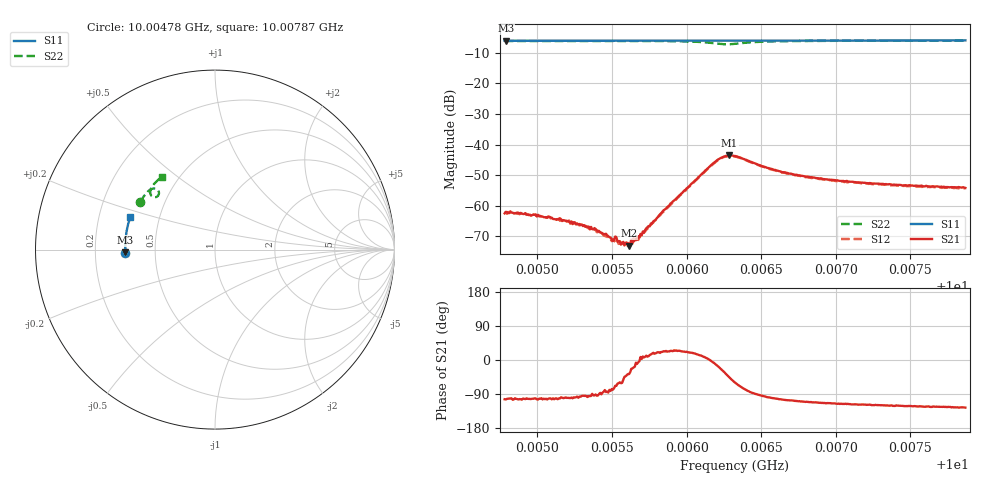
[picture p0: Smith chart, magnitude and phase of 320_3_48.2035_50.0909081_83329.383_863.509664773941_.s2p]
#  HZ  S  RI  R  50.00
! Rohde & Schwarz Vector Network Analyzer
! Rohde-Schwarz,ZNB20-2Port,1311601062101988,3.16
! Created: UTC 3/20/2024, 11:50:22 AM
! freq[Hz]  re:S11  im:S11  re:S21  im:S21  re:S12  im:S12  re:S22  im:S22
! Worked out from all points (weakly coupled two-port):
!   401 points, 10.00478 GHz to 10.00787 GHz, reference 50 ohm
!   highest |S21| = -43.58 dB at 10.00629 GHz (marker M1); lowest = -73.1 dB at 10.00561 GHz (marker M2)
!   lowest |S11| = -6.0 dB at 10.00479 GHz (marker M3), VSWR 2.99, Z = 16.7 - j0.709 ohm
!   |S11| at or under -10 dB: nowhere
!   |S22| runs from -7.2 to -6.0 dB; largest |S21 - S12| = 0.00039
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1.000478e10  -0.499 -0.0164  -0.000174 -0.000725  -0.000145 -0.000788  -0.4168 0.2649
1.0004788e10  -0.4989 -0.0159  -0.00019 -0.000762  -0.00015 -0.000756  -0.4165 0.2654
1.0004988e10  -0.4995 -0.00295  -0.000143 -0.000704  -0.000132 -0.000696  -0.4094 0.2773
1.0005197e10  -0.4999 0.0106  -9.72e-05 -0.000548  -7.07e-05 -0.000546  -0.4014 0.2896
1.0005297e10  -0.5 0.0172  -4.11e-05 -0.000491  -3.07e-05 -0.000485  -0.3975 0.2956
1.0005398e10  -0.4998 0.0237  -2.87e-05 -0.000393  1.67e-06 -0.000367  -0.3929 0.3016
1.0005498e10  -0.4997 0.0302  6.58e-05 -0.000273  7.77e-05 -0.00025  -0.3883 0.3077
1.0005537e10  -0.4996 0.0327  0.000119 -0.000226  0.000113 -0.000241  -0.3864 0.3101
1.0005552e10  -0.4995 0.0339  0.000136 -0.000224  0.000107 -0.000212  -0.3857 0.3112
1.000556e10  -0.4996 0.0342  0.000111 -0.000201  0.000134 -0.000211  -0.3851 0.3115
1.0005598e10  -0.4994 0.0367  0.000183 -0.000154  0.000194 -0.000157  -0.3831 0.314
1.0005614e10  -0.4994 0.0377  0.000176 -0.000133  0.000198 -0.000112  -0.3825 0.3149
1.0005668e10  -0.4993 0.0411  0.000273 -4.95e-05  0.000278 -5.98e-05  -0.3793 0.3182
1.0005814e10  -0.4986 0.0507  0.000637 0.000235  0.000628 0.000287  -0.3695 0.3278
1.0006177e10  -0.4962 0.074  0.00487 -0.000532  0.00478 -0.000304  -0.3165 0.3287
1.0006231e10  -0.4955 0.0775  0.00552 -0.00252  0.00553 -0.00217  -0.3125 0.3111
1.0006285e10  -0.4951 0.0806  0.00465 -0.00472  0.00477 -0.00444  -0.3237 0.2947
1.0006324e10  -0.4949 0.083  0.00329 -0.00559  0.00348 -0.00531  -0.3368 0.2914
1.0006625e10  -0.4924 0.1022  -0.000851 -0.00355  -0.000677 -0.00352  -0.3587 0.3344
1.0006841e10  -0.4898 0.116  -0.00107 -0.00269  -0.000899 -0.0027  -0.349 0.3529
1.0007359e10  -0.4821 0.1484  -0.00114 -0.00194  -0.000996 -0.0019  -0.3233 0.383
1.0007868e10  -0.4724 0.1797  -0.00114 -0.00158  -0.00105 -0.00163  -0.2974 0.4062
